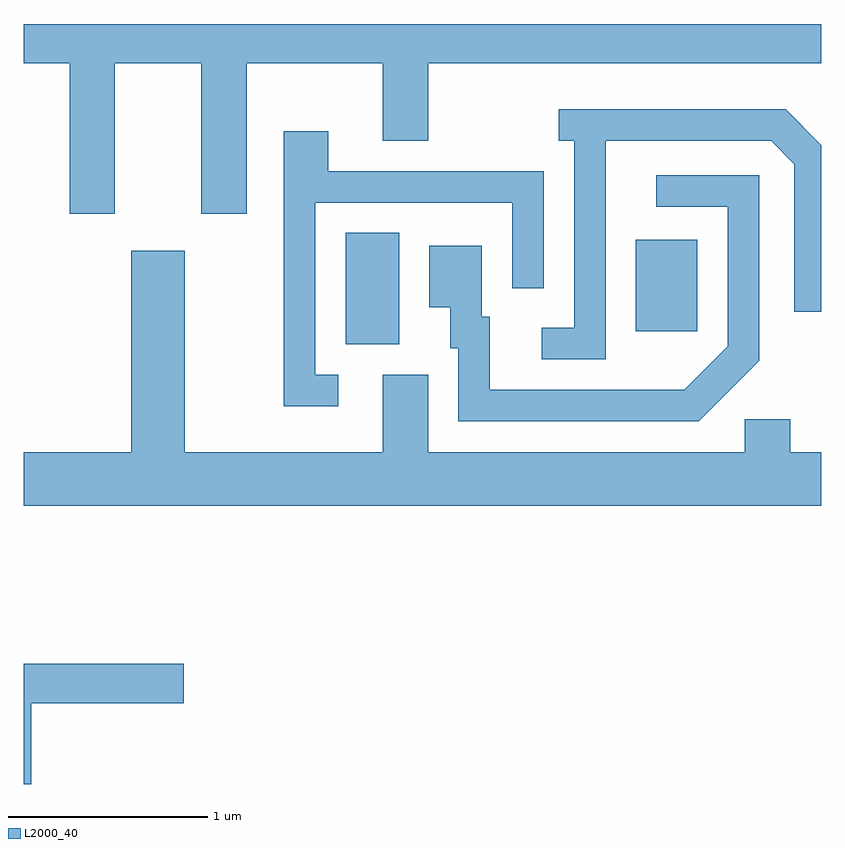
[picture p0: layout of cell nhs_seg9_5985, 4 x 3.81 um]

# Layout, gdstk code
import gdstk
lib = gdstk.Library(unit=1e-6, precision=1e-09)
def R(c, l, rs):  # rectangles x0, y0, x1, y1
    for r in rs: c.add(gdstk.rectangle(r[:2], r[2:], *l))
def P(c, l, *ps):  # polygons
    for p in ps: c.add(gdstk.Polygon(p, *l))
L2000_40 = (2000, 40)

nhs_seg9_5985 = lib.new_cell('nhs_seg9_5985')
R(nhs_seg9_5985, L2000_40, [(363.226,2014.826,363.494,2015.384), (364.681,2014.891,364.989,2015.349)])
P(nhs_seg9_5985, L2000_40, [(362.069,2016.236),(362.501,2016.236),(362.501,2015.481),(362.729,2015.481),(362.729,2016.236),(363.411,2016.236),(363.411,2015.846),(363.639,2015.846),(363.639,2016.236),(365.611,2016.236),(365.611,2016.432),(361.611,2016.432),(361.611,2016.236),(361.841,2016.236),(361.841,2015.481),(362.069,2015.481)],
  [(364.529,2015.846),(365.359,2015.846),(365.476,2015.729),(365.476,2014.988),(365.611,2014.988),(365.611,2015.825),(365.432,2016.004),(364.293,2016.004),(364.293,2015.846),(364.371,2015.846),(364.371,2014.909),(364.208,2014.909),(364.208,2014.751),(364.529,2014.751)],
  [(363.188,2014.674),(363.074,2014.674),(363.074,2015.536),(364.061,2015.536),(364.061,2015.108),(364.219,2015.108),(364.219,2015.694),(363.139,2015.694),(363.139,2015.894),(362.916,2015.894),(362.916,2014.516),(363.188,2014.516)],
  [(365.299,2014.744),(365.299,2015.674),(364.783,2015.674),(364.783,2015.516),(365.141,2015.516),(365.141,2014.817),(364.924,2014.599),(363.949,2014.599),(363.949,2014.964),(363.909,2014.964),(363.909,2015.319),(363.646,2015.319),(363.646,2015.011),(363.751,2015.011),(363.751,2014.806),(363.791,2014.806),(363.791,2014.441),(364.997,2014.441)],
  [(365.611,2014.284),(365.454,2014.284),(365.454,2014.449),(365.226,2014.449),(365.226,2014.284),(363.639,2014.284),(363.639,2014.674),(363.411,2014.674),(363.411,2014.284),(362.419,2014.284),(362.419,2015.294),(362.151,2015.294),(362.151,2014.284),(361.611,2014.284),(361.611,2014.016),(365.611,2014.016)],
  [(361.649,2013.026),(362.414,2013.026),(362.414,2013.224),(361.611,2013.224),(361.611,2012.621),(361.649,2012.621)])

lib.write_gds('nhs_seg9_5985.gds')
